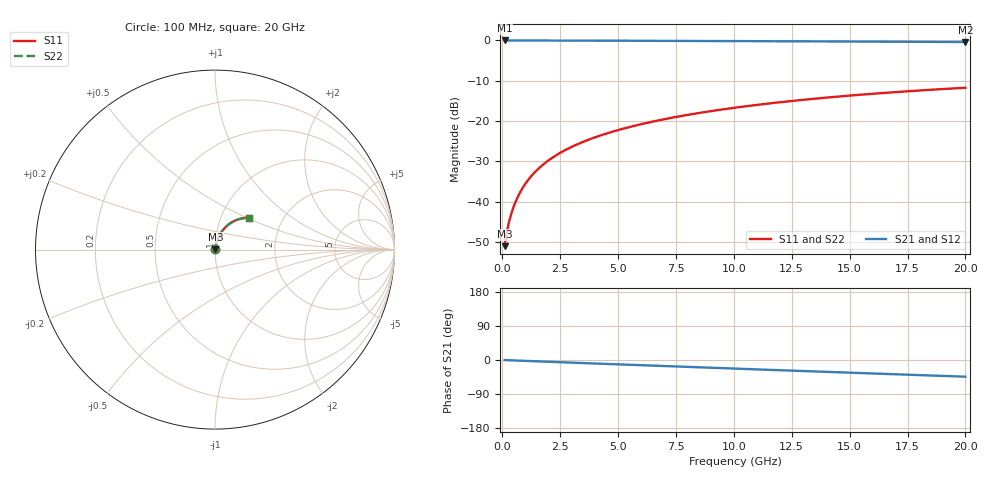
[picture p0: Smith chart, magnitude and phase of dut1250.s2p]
! Touchstone file exported from HFSS 2026.1.0
!  File:  C:/ffzhzh/LocalFiles/Ansys_Project_Files/temp_train_TMRDL_1250_1783163803_22436.aedt
!  Generated:  07:17:57 PM Jul  4, 2026
!  Design:  TMRDL
!  Project:  temp_train_TMRDL_1250_1783163803_22436
! Variables:
!  h_bsmrdl = 2um
!  h_ox = 20um
!  h_rdl = 5um
!  h_sub = 80um
!  h_tmrdl = 5.81um
!  h_tsv = 80um
!  h_via = 3um
!  l_bsmrdl = 300um
!  l_sub = 1132.09um
!  l_tmrdl = 732.09um
!  m_sub = 200um
!  pitch = 41.13um
!  r_tsv = 6um
!  s_tmrdl = 10um
!  w_bsmrdl = 18um
!  w_sub = 500um
!  w_tmrdl = 24.75um
!  x_tsv_center1 = 744.465um
!  x_tsv_center2 = 1062.465um
!  x_tsv_center3 = 1819.305um
!  x_tsv_center4 = 2137.305um
!  x_tsv_center5 = 2894.145um
!  x_tsv_center6 = 3212.145um
# GHz S MA R 50.000000
! Terminal data exported
! Port[1] = TM_RDL1_1_T1
! Port[2] = TM_RDL1_1_T2
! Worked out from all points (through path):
!   200 points, 100 MHz to 20 GHz, reference 50 ohm
!   highest |S21| = -0.02 dB at 100 MHz (marker M1); lowest = -0.4 dB at 20 GHz (marker M2)
!   group delay of S21, straight-line fit = 6.11 ps
!   lowest |S11| = -51.1 dB at 100 MHz (marker M3), VSWR 1.01, Z = 50.2 + j0.191 ohm
!   |S11| at or under -10 dB: start of sweep to end of sweep
!   |S22| runs from -51.1 to -11.8 dB; largest |S21 - S12| = 2.7e-15
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0.1  0.002792 43.0  0.998 -0.3  0.998 -0.3  0.002792 43.0
! Gamma 0 0 0 0
! Port Impedance 50 0 50 0
0.2  0.004242 57.5  0.9977 -0.5  0.9977 -0.5  0.004242 57.5
0.3  0.00572 64.7  0.9976 -0.7  0.9976 -0.7  0.00572 64.7
0.4  0.00723 69.1  0.9975 -1.0  0.9975 -1.0  0.00723 69.1
0.5  0.008771 72.0  0.9974 -1.2  0.9974 -1.2  0.008771 72.0
0.6  0.01033 74.1  0.9974 -1.4  0.9974 -1.4  0.01033 74.1
0.8  0.0135 76.5  0.9972 -1.9  0.9972 -1.9  0.0135 76.5
1.1  0.01827 78.2  0.9969 -2.6  0.9969 -2.6  0.01827 78.2
1.3  0.02145 78.7  0.9967 -3.1  0.9967 -3.1  0.02145 78.7
1.5  0.02462 78.9  0.9965 -3.5  0.9965 -3.5  0.02462 78.9
1.8  0.02934 78.9  0.9961 -4.2  0.9961 -4.2  0.02934 78.9
2.1  0.03402 78.7  0.9956 -4.9  0.9956 -4.9  0.03402 78.7
2.7  0.04322 77.9  0.9947 -6.3  0.9947 -6.3  0.04323 77.9
3.5  0.05523 76.5  0.9933 -8.1  0.9933 -8.1  0.05523 76.5
4.2  0.06551 75.2  0.992 -9.7  0.992 -9.7  0.06551 75.2
5  0.07707 73.7  0.9906 -11.5  0.9906 -11.5  0.07707 73.7
6.8  0.1024 70.2  0.9871 -15.5  0.9871 -15.5  0.1024 70.2
8.3  0.1229 67.2  0.984 -18.9  0.984 -18.9  0.1229 67.2
10.1  0.1467 63.6  0.9799 -22.8  0.9799 -22.8  0.1467 63.6
13.4  0.1878 56.8  0.9718 -30.0  0.9718 -30.0  0.1878 56.8
16.7  0.2252 50.1  0.9629 -37.1  0.9629 -37.1  0.2252 50.1
20  0.2583 43.4  0.954 -44.1  0.954 -44.1  0.2583 43.4
